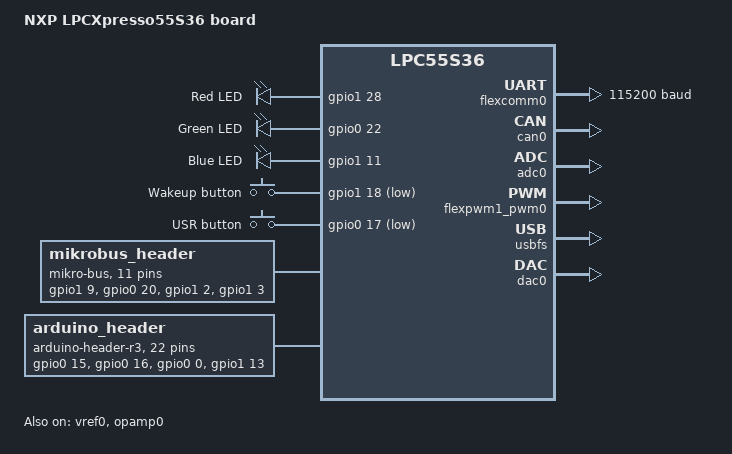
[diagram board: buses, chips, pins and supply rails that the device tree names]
/*
 * Copyright 2022 NXP
 *
 * SPDX-License-Identifier: Apache-2.0
 */

/dts-v1/;

#include <nxp/nxp_lpc55S36_ns.dtsi>
#include "lpcxpresso55s36-pinctrl.dtsi"
#include <zephyr/dt-bindings/gpio/arduino-header-r3.h>
#include <zephyr/dt-bindings/input/input-event-codes.h>

/ {
	model = "NXP LPCXpresso55S36 board";
	compatible = "nxp,lpc55xxx", "nxp,lpc";

	chosen {
		zephyr,sram = &sram0;
		zephyr,flash = &flash0;
		zephyr,code-partition = &slot0_partition;
		zephyr,uart-mcumgr = &flexcomm0;
		zephyr,console = &flexcomm0;
		zephyr,shell-uart = &flexcomm0;
		zephyr,canbus = &can0;
		zephyr,flash-controller = &iap;
	};

	aliases {
		led0 = &red_led;
		led1 = &green_led;
		led2 = &blue_led;
		sw0 = &btn_wk;
		sw1 = &btn_usr;
		usart-0 = &flexcomm0;
		pwm-0 = &flexpwm1_pwm0;
		mcuboot-button0 = &btn_wk;
	};

	leds {
		compatible = "gpio-leds";

		red_led: led_0 {
			gpios = <&gpio1 28 0>;
			label = "Red LED";
		};

		green_led: led_1 {
			gpios = <&gpio0 22 0>;
			label = "Green LED";
		};

		blue_led: led_2 {
			gpios = <&gpio1 11 0>;
			label = "Blue LED";
		};
	};

	gpio_keys {
		compatible = "gpio-keys";

		btn_wk: button_0 {
			label = "Wakeup button";
			gpios = <&gpio1 18 GPIO_ACTIVE_LOW>;
			zephyr,code = <INPUT_KEY_WAKEUP>;
		};

		btn_usr: button_1 {
			label = "USR button";
			gpios = <&gpio0 17 GPIO_ACTIVE_LOW>;
			zephyr,code = <INPUT_KEY_0>;
		};
	};

	mikrobus_header: mikrobus-connector {
		compatible = "mikro-bus";
		#gpio-cells = <2>;
		gpio-map-mask = <0xffffffff 0xffffffc0>;
		gpio-map-pass-thru = <0 0x3f>;
		gpio-map = <0 0 &gpio1 9 0>,	/* AN  */
			   /* Not a GPIO*/		/* RST */
			   <2 0 &gpio0 20 0>,	/* CS   */
			   <3 0 &gpio1 2 0>,	/* SCK  */
			   <4 0 &gpio1 3 0>,	/* MISO */
			   <5 0 &gpio0 26 0>,	/* MOSI */
			   /* +3.3V */
			   /* GND */
			   <6 0 &gpio1 8 0>,	/* PWM  */
			   <7 0 &gpio0 17 0>,	/* INT  */
			   <8 0 &gpio1 24 0>,	/* RX   */
			   <9 0 &gpio1 25 0>,	/* TX   */
			   <10 0 &gpio1 30 0>,	/* SCL  */
			   <11 0 &gpio1 21 0>;	/* SDA  */
		/* +5V */
		/* GND */
	};

	arduino_header: arduino-connector {
		compatible = "arduino-header-r3";
		#gpio-cells = <2>;
		gpio-map-mask = <0xffffffff 0xffffffc0>;
		gpio-map-pass-thru = <0 0x3f>;
		gpio-map = <ARDUINO_HEADER_R3_A0 0 &gpio0 15 0>,
			   <ARDUINO_HEADER_R3_A1 0 &gpio0 16 0>,
			   <ARDUINO_HEADER_R3_A2 0 &gpio0 0 0>,
			   <ARDUINO_HEADER_R3_A3 0 &gpio1 13 0>,
			   <ARDUINO_HEADER_R3_A4 0 &gpio1 21 0>,
			   <ARDUINO_HEADER_R3_A5 0 &gpio1 30 0>,
			   <ARDUINO_HEADER_R3_D0 0 &gpio2 0 0>,
			   <ARDUINO_HEADER_R3_D1 0 &gpio2 1 0>,
			   <ARDUINO_HEADER_R3_D2 0 &gpio1 26 0>,
			   <ARDUINO_HEADER_R3_D3 0 &gpio1 23 0>,
			   <ARDUINO_HEADER_R3_D4 0 &gpio1 8 0>,
			   <ARDUINO_HEADER_R3_D5 0 &gpio1 25 0>,
			   <ARDUINO_HEADER_R3_D6 0 &gpio1 0 0>,
			   <ARDUINO_HEADER_R3_D7 0 &gpio1 28 0>,
			   <ARDUINO_HEADER_R3_D8 0 &gpio1 27 0>,
			   <ARDUINO_HEADER_R3_D9 0 &gpio1 29 0>,
			   <ARDUINO_HEADER_R3_D10 0 &gpio1 26 0>,
			   <ARDUINO_HEADER_R3_D11 0 &gpio0 26 0>,
			   <ARDUINO_HEADER_R3_D12 0 &gpio1 3 0>,
			   <ARDUINO_HEADER_R3_D13 0 &gpio1 2 0>,
			   <ARDUINO_HEADER_R3_D14 0 &gpio0 3 0>,
			   <ARDUINO_HEADER_R3_D15 0 &gpio0 2 0>;
	};
};

&flexcomm0 {
	status = "okay";
	compatible = "nxp,lpc-usart";
	current-speed = <115200>;
	pinctrl-0 = <&pinmux_flexcomm0_usart>;
	pinctrl-names = "default";
};

&can0 {
	pinctrl-0 = <&pinmux_mcan_can0>;
	pinctrl-names = "default";
	status = "okay";

	can-transceiver {
		max-bitrate = <5000000>;
	};
};

&adc0 {
	status = "okay";
	pinctrl-0 = <&pinmux_lpadc0>;
	pinctrl-names = "default";
};

/* Flash is divided into 32 kB sub-regions.
 * Each sub-region can be assigned individual
 * security tier in secure AHB controller.
 */
&flash0 {
	partitions {
		compatible = "fixed-partitions";
		#address-cells = <1>;
		#size-cells = <1>;

		boot_partition: partition@0 {
			label = "mcuboot";
			reg = <0x0 DT_SIZE_K(32)>;
		};

		slot0_partition: partition@8000 {
			label = "image-0";
			reg = <0x00008000 DT_SIZE_K(96)>;
		};

		slot1_partition: partition@20000 {
			label = "image-1";
			reg = <0x00020000 DT_SIZE_K(96)>;
		};

		storage_partition: partition@38000 {
			label = "storage";
			reg = <0x00038000 DT_SIZE_K(20)>;
		};
		/* The last 12KB are reserved for PFR on the 256KB flash.
		 */
	};
};

&flexpwm1_pwm0 {
	status = "okay";
	pinctrl-0 = <&pinmux_flexpwm1_pwm0>;
	pinctrl-names = "default";
};

zephyr_udc0: &usbfs {
	status = "okay";
	pinctrl-0 = <&pinmux_usbfs>;
	pinctrl-names = "default";
};

&dma0 {
	status = "okay";
};

&vref0 {
	status = "okay";
};

&dac0 {
	status = "okay";
	pinctrl-0 = <&pinmux_dac0>;
	pinctrl-names = "default";
};

&opamp0 {
	status = "okay";
	pinctrl-0 = <&pinmux_opamp0>;
	pinctrl-names = "default";
};
